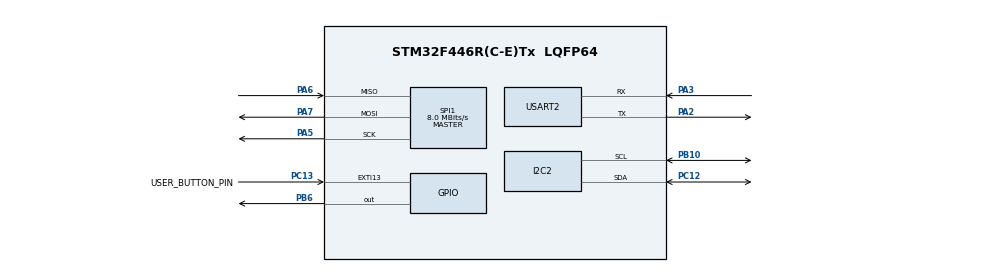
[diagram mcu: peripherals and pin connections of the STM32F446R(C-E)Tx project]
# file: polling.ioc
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Dma.I2C2_TX.0.Direction=DMA_MEMORY_TO_PERIPH
Dma.I2C2_TX.0.FIFOMode=DMA_FIFOMODE_DISABLE
Dma.I2C2_TX.0.Instance=DMA1_Stream7
Dma.I2C2_TX.0.MemDataAlignment=DMA_MDATAALIGN_BYTE
Dma.I2C2_TX.0.MemInc=DMA_MINC_ENABLE
Dma.I2C2_TX.0.Mode=DMA_NORMAL
Dma.I2C2_TX.0.PeriphDataAlignment=DMA_PDATAALIGN_BYTE
Dma.I2C2_TX.0.PeriphInc=DMA_PINC_DISABLE
Dma.I2C2_TX.0.Priority=DMA_PRIORITY_LOW
Dma.Request0=I2C2_TX
Mcu.Family=STM32F4
Mcu.Name=STM32F446R(C-E)Tx
Mcu.Package=LQFP64
NVIC.DMA1_Stream7_IRQn=true\:0\:0\:false\:false\:true\:false\:true\:true
NVIC.EXTI15_10_IRQn=true\:0\:0\:false\:false\:true\:true\:true\:true
NVIC.I2C2_EV_IRQn=true\:0\:0\:false\:false\:true\:true\:true\:true
NVIC.PriorityGroup=NVIC_PRIORITYGROUP_4
PA2.Mode=Asynchronous
PA2.Signal=USART2_TX
PA3.Mode=Asynchronous
PA3.Signal=USART2_RX
PA5.Mode=Full_Duplex_Master
PA5.Signal=SPI1_SCK
PA6.Mode=Full_Duplex_Master
PA6.Signal=SPI1_MISO
PA7.Mode=Full_Duplex_Master
PA7.Signal=SPI1_MOSI
PB10.Mode=I2C
PB10.Signal=I2C2_SCL
PB6.Signal=GPIO_Output
PC12.Mode=I2C
PC12.Signal=I2C2_SDA
PC13.GPIO_Label=USER_BUTTON_PIN
PC13.Signal=GPXTI13
ProjectManager.HeapSize=0x200
ProjectManager.StackSize=0x400
ProjectManager.TargetToolchain=STM32CubeIDE
RCC.CortexFreq_Value=16000000
RCC.USBFreq_Value=96000000
RCC.VCOOutputFreq_Value=192000000
SPI1.CLKPhase=SPI_PHASE_2EDGE
SPI1.CLKPolarity=SPI_POLARITY_HIGH
SPI1.CalculateBaudRate=8.0 MBits/s
SPI1.Direction=SPI_DIRECTION_2LINES
SPI1.Mode=SPI_MODE_MASTER
SPI1.VirtualType=VM_MASTER
USART2.VirtualMode=VM_ASYNC
board=custom

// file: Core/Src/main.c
/* USER CODE BEGIN Header */
/**
  ******************************************************************************
  * @file           : main.c
  * @brief          : Main program body
  ******************************************************************************
  * @attention
  *
  * Copyright (c) 2026 STMicroelectronics.
  * All rights reserved.
  *
  * This software is licensed under terms that can be found in the LICENSE file
  * in the root directory of this software component.
  * If no LICENSE file comes with this software, it is provided AS-IS.
  *
  ******************************************************************************
  */
/* USER CODE END Header */
#include "main.h"
#include "dma.h"
#include "i2c.h"
#include "spi.h"
#include "usart.h"
#include "gpio.h"

/* USER CODE BEGIN Includes */
#include "ssd1306.h"
#include "fonts.h"
#include "step_detector.h"
#include "adxl345.h"

#include <stdio.h>
#include <string.h>
#include <math.h>

/* USER CODE END Includes */

/* USER CODE BEGIN PTD */
int16_t accelX, accelY, accelZ;//zmienne do odczytów

StepDetector_t myTracker;//tworzymy obiekt step detectora od tego structa tak jakby

volatile uint8_t isTracking = 1;//flaga do prerwania z przycisku USER
/* USER CODE END PTD */

void SystemClock_Config(void);

int main(void)
{

  /* USER CODE BEGIN 1 */
char buffer[200];
  /* USER CODE END 1 */

  /* MCU Configuration--------------------------------------------------------*/

  /* Reset of all peripherals, Initializes the Flash interface and the Systick. */
  HAL_Init();

  /* Configure the system clock */
  SystemClock_Config();

  /* Initialize all configured peripherals */
  MX_GPIO_Init();
  MX_DMA_Init();
  MX_I2C2_Init();
  MX_SPI1_Init();
  MX_USART2_UART_Init();
  /* USER CODE BEGIN 2 */
  HAL_Delay(100);//czekamy zeby wszystko sie zainicjalizowalo

   if(ssd1306_Init(&hi2c2) != 0)//wywolanei na wypadek bledu komunikacja OLEDa
   {
       Error_Handler();
   }
   ADXL345_Init(&hspi1);
   StepDetector_Init(&myTracker);//inicjalizacja detectora ze wskaznikiem na obiekt ze structu gdzzie zapisywane sa zmienne

   // Ekran powitalny
   ssd1306_Fill(Black);
   ssd1306_SetCursor(20, 20);
   ssd1306_WriteString("WELCOME", Font_11x18, White);
   ssd1306_UpdateScreen(&hi2c2);
   HAL_Delay(2000);
   //sprawdzenie dla pewnosci stanu adxl
   UART_Print("\r\n=== Stars tracking ===\r\n");
   uint8_t devId = ADXL345_ReadRegister(ADXL345_REG_DEVID);
   sprintf(buffer, "Device ID: 0x%02X (oczekiwany 0xE5)\r\n", devId);
   UART_Print(buffer);

   if(devId != 0xE5)//zabezpieczienei na wypadek błędu, wpada wtedy w petle bez konca
   {
       UART_Print("ERROR: Wrong device id");
       while(1);
   }

   //UART_Print("ADXL345 initialized (polling mode)\r\n");
  /* USER CODE END 2 */

  /* Infinite loop */
  /* USER CODE BEGIN WHILE */
   char bufferOled[32];
  while (1)
  {
    /* USER CODE END WHILE */

    /* USER CODE BEGIN 3 */
	  if(isTracking)
	  {
	  ADXL345_ReadAccel(&accelX, &accelY, &accelZ);//pobieramy dane
	  	  float xg = accelX * 0.0039f;//przeliczamy
	  	  float yg = accelY * 0.0039f;
	  	  float zg = accelZ * 0.0039f;

	  	  StepDetector_Process(&myTracker, xg, yg, zg);//wywołujemy funkcje detekcji
	  	  static uint32_t lastDisplay = 0;//ustawiamy na poczatku na na 0
	  	  	  if(HAL_GetTick() - lastDisplay > 200)// sprawdzamy aktualny stan zegara z lastdisplayem jezeli jest tam co te 200ms to wysweitlamy
	  	  	  {

	  	  		  lastDisplay = HAL_GetTick();//zapisujemy ten czas do zmiennej zeby znoiwu miec do porownania w if
			  sprintf(buffer,
					  "RAW X=%6d Y=%6d Z=%6d | g X=%7.3f Y=%7.3f Z=%7.3f | UP=%2d DOWN=%2d\r\n",
					  accelX, accelY, accelZ,
					  xg, yg, zg,
					  myTracker.stepsUp, myTracker.stepsDown);

			 UART_Print(buffer);
			 UART_Print("\r\n");

	  				  ssd1306_Fill(Black);

	  				  ssd1306_SetCursor(0, 0);
	  				  ssd1306_WriteString("Tracking", Font_11x18, White);

	  				  ssd1306_SetCursor(0, 25);
	  				  sprintf(bufferOled, "Up: %2d", myTracker.stepsUp);
	  				  ssd1306_WriteString(bufferOled, Font_7x10, White);

	  				  ssd1306_SetCursor(0, 35);
	  				  sprintf(bufferOled, "Down: %2d", myTracker.stepsDown);
	  				  ssd1306_WriteString(bufferOled, Font_7x10, White);

	  				  ssd1306_SetCursor(0, 45);
	  				  sprintf(bufferOled, "Total: %2d", myTracker.stepsTotal);
	  				  ssd1306_WriteString(bufferOled, Font_7x10, White);

	  				  ssd1306_UpdateScreen(&hi2c2);

	  			  }
	  }
	  else
	  {
		  ssd1306_Fill(Black);

		  ssd1306_SetCursor(0, 0);
		  ssd1306_WriteString("Stop", Font_11x18, White);

		  ssd1306_UpdateScreen(&hi2c2);
	  }

  }
  /* USER CODE END 3 */
}

void SystemClock_Config(void)
{
  RCC_OscInitTypeDef RCC_OscInitStruct = {0};
  RCC_ClkInitTypeDef RCC_ClkInitStruct = {0};

  /** Configure the main internal regulator output voltage
  */
  __HAL_RCC_PWR_CLK_ENABLE();
  __HAL_PWR_VOLTAGESCALING_CONFIG(PWR_REGULATOR_VOLTAGE_SCALE3);

  /** Initializes the RCC Oscillators according to the specified parameters
  * in the RCC_OscInitTypeDef structure.
  */
  RCC_OscInitStruct.OscillatorType = RCC_OSCILLATORTYPE_HSI;
  RCC_OscInitStruct.HSIState = RCC_HSI_ON;
  RCC_OscInitStruct.HSICalibrationValue = RCC_HSICALIBRATION_DEFAULT;
  RCC_OscInitStruct.PLL.PLLState = RCC_PLL_NONE;
  if (HAL_RCC_OscConfig(&RCC_OscInitStruct) != HAL_OK)
  {
    Error_Handler();
  }

  /** Initializes the CPU, AHB and APB buses clocks
  */
  RCC_ClkInitStruct.ClockType = RCC_CLOCKTYPE_HCLK|RCC_CLOCKTYPE_SYSCLK
                              |RCC_CLOCKTYPE_PCLK1|RCC_CLOCKTYPE_PCLK2;
  RCC_ClkInitStruct.SYSCLKSource = RCC_SYSCLKSOURCE_HSI;
  RCC_ClkInitStruct.AHBCLKDivider = RCC_SYSCLK_DIV1;
  RCC_ClkInitStruct.APB1CLKDivider = RCC_HCLK_DIV1;
  RCC_ClkInitStruct.APB2CLKDivider = RCC_HCLK_DIV1;

  if (HAL_RCC_ClockConfig(&RCC_ClkInitStruct, FLASH_LATENCY_0) != HAL_OK)
  {
    Error_Handler();
  }
}

/* USER CODE BEGIN 4 */
void HAL_GPIO_EXTI_Callback(uint16_t GPIO_Pin)
{

	if(GPIO_Pin == USER_BUTTON_PIN_Pin)
	{
	        static uint32_t last_press_tick = 0;
	        uint32_t current_tick = HAL_GetTick();

	        // ignoruje kliknięcia częstsze niż 200ms na wypadek debouncu
	        if(current_tick - last_press_tick > 200)
	        {
	            isTracking = !isTracking;
	            last_press_tick = current_tick;
	        }
	}
}
/* USER CODE END 4 */

void Error_Handler(void)
{
  __disable_irq();
  while (1)
  {
  }
}
